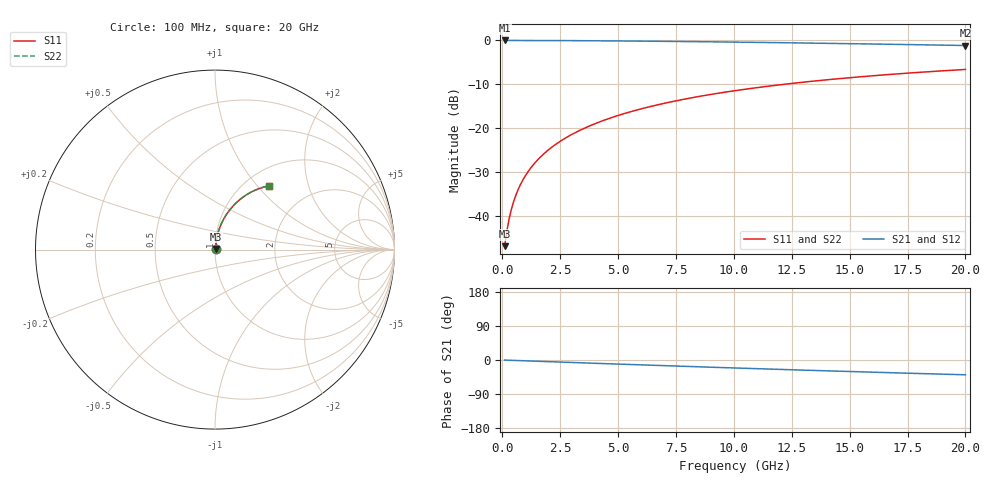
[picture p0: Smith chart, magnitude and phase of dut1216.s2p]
! Touchstone file exported from HFSS 2026.1.0
!  File:  C:/ffzhzh/LocalFiles/Ansys_Project_Files/temp_train_TMRDL_1216_1783163263_22436.aedt
!  Generated:  07:09:00 PM Jul  4, 2026
!  Design:  TMRDL
!  Project:  temp_train_TMRDL_1216_1783163263_22436
! Variables:
!  h_bsmrdl = 2um
!  h_ox = 20um
!  h_rdl = 5um
!  h_sub = 80um
!  h_tmrdl = 3.98um
!  h_tsv = 80um
!  h_via = 3um
!  l_bsmrdl = 300um
!  l_sub = 872.12um
!  l_tmrdl = 472.12um
!  m_sub = 200um
!  pitch = 55.28um
!  r_tsv = 6um
!  s_tmrdl = 10um
!  w_bsmrdl = 18um
!  w_sub = 500um
!  w_tmrdl = 12.18um
!  x_tsv_center1 = 478.21um
!  x_tsv_center2 = 796.21um
!  x_tsv_center3 = 1280.51um
!  x_tsv_center4 = 1598.51um
!  x_tsv_center5 = 2082.81um
!  x_tsv_center6 = 2400.81um
# GHz S MA R 50.000000
! Terminal data exported
! Port[1] = TM_RDL1_1_T1
! Port[2] = TM_RDL1_1_T2
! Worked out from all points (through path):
!   200 points, 100 MHz to 20 GHz, reference 50 ohm
!   highest |S21| = -0.03 dB at 100 MHz (marker M1); lowest = -1.2 dB at 20 GHz (marker M2)
!   group delay of S21, straight-line fit = 5.43 ps
!   lowest |S11| = -46.8 dB at 100 MHz (marker M3), VSWR 1.01, Z = 50.4 + j0.296 ohm
!   |S11| at or under -10 dB: start of sweep to 12.15 GHz
!   |S22| runs from -46.8 to -6.6 dB; largest |S21 - S12| = 3.1e-15
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0.1  0.004595 39.7  0.9965 -0.2  0.9965 -0.2  0.004595 39.7
! Gamma 0 0 0 0
! Port Impedance 50 0 50 0
0.2  0.006884 58.3  0.9964 -0.4  0.9964 -0.4  0.006884 58.3
0.3  0.009519 66.9  0.9963 -0.7  0.9963 -0.7  0.009519 66.9
0.4  0.01226 71.6  0.9962 -0.9  0.9962 -0.9  0.01226 71.6
0.5  0.01504 74.4  0.9961 -1.1  0.9961 -1.1  0.01504 74.4
0.6  0.01783 76.3  0.996 -1.3  0.996 -1.3  0.01783 76.3
0.8  0.02344 78.6  0.9958 -1.8  0.9958 -1.8  0.02344 78.6
1.1  0.03188 80.3  0.9955 -2.4  0.9955 -2.4  0.03188 80.3
1.5  0.04316 81.2  0.9949 -3.3  0.9949 -3.3  0.04316 81.2
1.8  0.05162 81.3  0.9944 -3.9  0.9944 -3.9  0.05162 81.3
2.1  0.06006 81.2  0.9938 -4.6  0.9938 -4.6  0.06006 81.2
2.7  0.07689 80.7  0.9924 -5.9  0.9924 -5.9  0.07689 80.7
3.5  0.09915 79.5  0.9901 -7.6  0.9901 -7.6  0.09915 79.5
4.2  0.1184 78.3  0.9876 -9.1  0.9876 -9.1  0.1184 78.3
5  0.1401 76.8  0.9843 -10.8  0.9843 -10.8  0.1401 76.8
5.9  0.1641 75.1  0.9801 -12.7  0.9801 -12.7  0.1641 75.1
6.8  0.1876 73.3  0.9754 -14.5  0.9754 -14.5  0.1876 73.3
8.3  0.2256 70.4  0.9665 -17.6  0.9665 -17.6  0.2256 70.4
10.1  0.2693 67.0  0.9545 -21.2  0.9545 -21.2  0.2693 67.0
13.4  0.3433 60.9  0.9295 -27.5  0.9295 -27.5  0.3433 60.9
16.7  0.4091 55.1  0.902 -33.4  0.902 -33.4  0.4091 55.1
20  0.4669 49.6  0.8733 -39.0  0.8733 -39.0  0.4669 49.6
